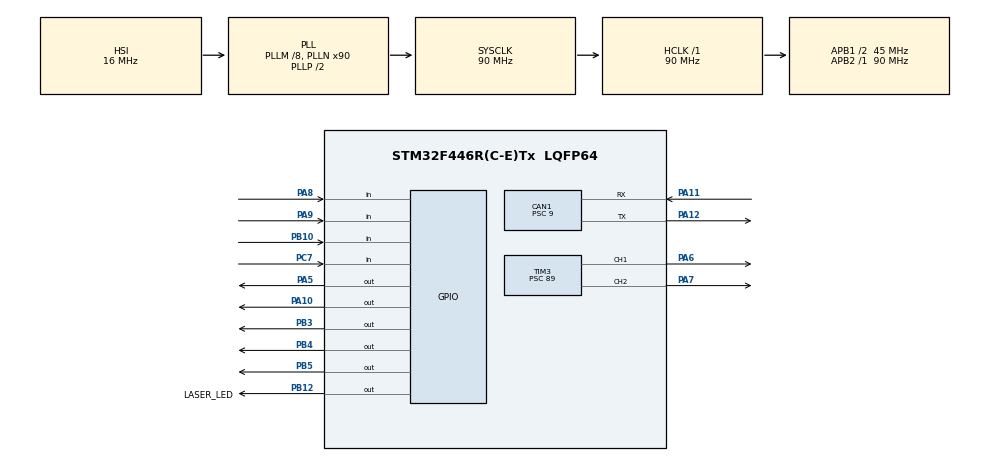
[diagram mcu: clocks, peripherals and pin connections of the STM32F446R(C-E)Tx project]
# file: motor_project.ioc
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CAN1.BS1=CAN_BS1_7TQ
CAN1.BS2=CAN_BS2_2TQ
CAN1.CalculateBaudRate=500000
CAN1.CalculateTimeBit=2000
CAN1.CalculateTimeQuantum=200.0
CAN1.Prescaler=9
FREERTOS.Queues01=KeyQueue,8,custom,0,Dynamic,NULL,NULL
FREERTOS.Tasks01=MotorTask,24,128,StartDefaultTask,Default,NULL,Dynamic,NULL,NULL;KeypadTask,8,128,StartTask02,Default,NULL,Dynamic,NULL,NULL
Mcu.Family=STM32F4
Mcu.Name=STM32F446R(C-E)Tx
Mcu.Package=LQFP64
NVIC.CAN1_RX0_IRQn=true\:5\:0\:false\:false\:true\:true\:true\:true\:true
NVIC.PriorityGroup=NVIC_PRIORITYGROUP_4
NVIC.TIM4_IRQn=true\:15\:0\:false\:false\:true\:false\:false\:true\:true
NVIC.TimeBase=TIM4_IRQn
NVIC.TimeBaseIP=TIM4
PA10.Signal=GPIO_Output
PA11.Mode=CAN_Activate
PA11.Signal=CAN1_RX
PA12.Mode=CAN_Activate
PA12.Signal=CAN1_TX
PA13.Mode=Serial_Wire
PA13.Signal=SYS_JTMS-SWDIO
PA14.Mode=Serial_Wire
PA14.Signal=SYS_JTCK-SWCLK
PA5.Signal=GPIO_Output
PA6.Signal=S_TIM3_CH1
PA7.Signal=S_TIM3_CH2
PA8.GPIO_PuPd=GPIO_PULLUP
PA8.Signal=GPIO_Input
PA9.GPIO_PuPd=GPIO_PULLUP
PA9.Signal=GPIO_Input
PB10.GPIO_PuPd=GPIO_PULLUP
PB10.Signal=GPIO_Input
PB12.GPIO_Label=LASER_LED
PB12.Signal=GPIO_Output
PB3.Signal=GPIO_Output
PB4.Signal=GPIO_Output
PB5.Signal=GPIO_Output
PC7.GPIO_PuPd=GPIO_PULLUP
PC7.Signal=GPIO_Input
ProjectManager.HeapSize=0x200
ProjectManager.StackSize=0x400
ProjectManager.TargetToolchain=STM32CubeIDE
RCC.AHBFreq_Value=90000000
RCC.APB1CLKDivider=RCC_HCLK_DIV2
RCC.APB1Freq_Value=45000000
RCC.APB1TimFreq_Value=90000000
RCC.APB2Freq_Value=90000000
RCC.APB2TimFreq_Value=90000000
RCC.CortexFreq_Value=90000000
RCC.HCLKFreq_Value=90000000
RCC.PLLM=8
RCC.PLLN=90
RCC.SYSCLKFreq_VALUE=90000000
RCC.SYSCLKSource=RCC_SYSCLKSOURCE_PLLCLK
RCC.USBFreq_Value=90000000
RCC.VCOOutputFreq_Value=180000000
SH.S_TIM3_CH1.0=TIM3_CH1,PWM Generation1 CH1
SH.S_TIM3_CH2.0=TIM3_CH2,PWM Generation2 CH2
TIM3.Channel-PWM\ Generation1\ CH1=TIM_CHANNEL_1
TIM3.Channel-PWM\ Generation2\ CH2=TIM_CHANNEL_2
TIM3.Period=19999
TIM3.Prescaler=89
TIM3.Pulse-PWM\ Generation1\ CH1=1500
TIM3.Pulse-PWM\ Generation2\ CH2=1500
VP_FREERTOS_VS_CMSIS_V2.Mode=CMSIS_V2
VP_SYS_VS_tim4.Mode=TIM4
VP_TIM3_VS_ClockSourceINT.Mode=Internal
board=custom

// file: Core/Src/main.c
/* USER CODE BEGIN Header */
/**
  ******************************************************************************
  * @file           : main.c
  * @brief          : Main program body
  ******************************************************************************
  */
/* USER CODE END Header */
#include "main.h"
#include "cmsis_os.h"
#include "can.h"
#include "tim.h"
#include "gpio.h"

/* USER CODE BEGIN PV */
extern osMessageQueueId_t KeyQueueHandle;
extern TIM_HandleTypeDef htim3;
/* USER CODE END PV */

void SystemClock_Config(void);
void MX_FREERTOS_Init(void);

/* USER CODE BEGIN 0 */
#define TYPE_MANUAL  0
#define TYPE_AUTO    1

#define CMD_UP     (1 << 0)
#define CMD_DOWN   (1 << 1)
#define CMD_LEFT   (1 << 2)
#define CMD_RIGHT  (1 << 3)
#define CMD_TOGGLE (1 << 4)

// freertos.c와 동일한 구조체를 main.c에서도 알 수 있도록 선언
typedef struct {
    uint8_t  msg_type;
    uint16_t manual_cmd;
    int16_t  error_x;
    int16_t  error_y;
} TurretMsg_t;

uint16_t Scan_Keypad(void)
{
    uint16_t result = 0;

    const uint8_t keys[4][4] = {
        { 1,  2,  3,  4},
        { 5,  6,  7,  8},
        { 9, 10, 11, 12},
        {13, 14, 15, 16}
    };

    GPIO_TypeDef* row_ports[4] = {GPIOA, GPIOB, GPIOB, GPIOB};
    uint16_t      row_pins[4]  = {GPIO_PIN_10, GPIO_PIN_3, GPIO_PIN_5, GPIO_PIN_4};

    GPIO_TypeDef* col_ports[4] = {GPIOB, GPIOA, GPIOA, GPIOC};
    uint16_t      col_pins[4]  = {GPIO_PIN_10, GPIO_PIN_8, GPIO_PIN_9, GPIO_PIN_7};

    HAL_GPIO_WritePin(GPIOA, GPIO_PIN_10, GPIO_PIN_SET);
    HAL_GPIO_WritePin(GPIOB, GPIO_PIN_3,  GPIO_PIN_SET);
    HAL_GPIO_WritePin(GPIOB, GPIO_PIN_5,  GPIO_PIN_SET);
    HAL_GPIO_WritePin(GPIOB, GPIO_PIN_4,  GPIO_PIN_SET);

    for(int row = 0; row < 4; row++)
    {
        HAL_GPIO_WritePin(row_ports[row], row_pins[row], GPIO_PIN_RESET);
        osDelay(2);

        for(int col = 0; col < 4; col++)
        {
            if(HAL_GPIO_ReadPin(col_ports[col], col_pins[col]) == GPIO_PIN_RESET)
            {
                if(keys[row][col] == 1)  result |= CMD_TOGGLE;
                if(keys[row][col] == 2)  result |= CMD_UP;
                if(keys[row][col] == 10) result |= CMD_DOWN;
                if(keys[row][col] == 5)  result |= CMD_LEFT;
                if(keys[row][col] == 7)  result |= CMD_RIGHT;
            }
        }
        HAL_GPIO_WritePin(row_ports[row], row_pins[row], GPIO_PIN_SET);
    }

    return result;
}
/* USER CODE END 0 */

int main(void)
{

  /* MCU Configuration--------------------------------------------------------*/

  /* Reset of all peripherals, Initializes the Flash interface and the Systick. */
  HAL_Init();

  /* Configure the system clock */
  SystemClock_Config();

  /* Initialize all configured peripherals */
  MX_GPIO_Init();
  MX_TIM3_Init();
  MX_CAN1_Init();

  /* USER CODE BEGIN 2 */
  CAN_FilterTypeDef canFilterConfig;

  // 모든 CAN ID 메시지를 수신하도록 마스크 필터 개방
  canFilterConfig.FilterBank = 0;
  canFilterConfig.FilterMode = CAN_FILTERMODE_IDMASK;
  canFilterConfig.FilterScale = CAN_FILTERSCALE_32BIT;
  canFilterConfig.FilterIdHigh = 0x0000;
  canFilterConfig.FilterIdLow = 0x0000;
  canFilterConfig.FilterMaskIdHigh = 0x0000;
  canFilterConfig.FilterMaskIdLow = 0x0000;
  canFilterConfig.FilterFIFOAssignment = CAN_RX_FIFO0;
  canFilterConfig.FilterActivation = ENABLE;
  canFilterConfig.SlaveStartFilterBank = 14;

  if (HAL_CAN_ConfigFilter(&hcan1, &canFilterConfig) != HAL_OK) {
      Error_Handler();
  }

  // CAN 컨트롤러 시작
  if (HAL_CAN_Start(&hcan1) != HAL_OK) {
      Error_Handler();
  }

  // RX0 인터럽트(수신 알림) 활성화
  if (HAL_CAN_ActivateNotification(&hcan1, CAN_IT_RX_FIFO0_MSG_PENDING) != HAL_OK) {
      Error_Handler();
  }
  /* USER CODE END 2 */

  /* Init scheduler */
  osKernelInitialize();
  MX_FREERTOS_Init();

  /* Start scheduler */
  osKernelStart();

  /* Infinite loop */
  while (1)
  {

  }
}

void SystemClock_Config(void)
{
  RCC_OscInitTypeDef RCC_OscInitStruct = {0};
  RCC_ClkInitTypeDef RCC_ClkInitStruct = {0};

  __HAL_RCC_PWR_CLK_ENABLE();
  __HAL_PWR_VOLTAGESCALING_CONFIG(PWR_REGULATOR_VOLTAGE_SCALE3);

  RCC_OscInitStruct.OscillatorType = RCC_OSCILLATORTYPE_HSI;
  RCC_OscInitStruct.HSIState = RCC_HSI_ON;
  RCC_OscInitStruct.HSICalibrationValue = RCC_HSICALIBRATION_DEFAULT;
  RCC_OscInitStruct.PLL.PLLState = RCC_PLL_ON;
  RCC_OscInitStruct.PLL.PLLSource = RCC_PLLSOURCE_HSI;
  RCC_OscInitStruct.PLL.PLLM = 8;
  RCC_OscInitStruct.PLL.PLLN = 90;
  RCC_OscInitStruct.PLL.PLLP = RCC_PLLP_DIV2;
  RCC_OscInitStruct.PLL.PLLQ = 2;
  RCC_OscInitStruct.PLL.PLLR = 2;
  if (HAL_RCC_OscConfig(&RCC_OscInitStruct) != HAL_OK)
  {
    Error_Handler();
  }

  RCC_ClkInitStruct.ClockType = RCC_CLOCKTYPE_HCLK|RCC_CLOCKTYPE_SYSCLK
                              |RCC_CLOCKTYPE_PCLK1|RCC_CLOCKTYPE_PCLK2;
  RCC_ClkInitStruct.SYSCLKSource = RCC_SYSCLKSOURCE_PLLCLK;
  RCC_ClkInitStruct.AHBCLKDivider = RCC_SYSCLK_DIV1;
  RCC_ClkInitStruct.APB1CLKDivider = RCC_HCLK_DIV2;
  RCC_ClkInitStruct.APB2CLKDivider = RCC_HCLK_DIV1;

  if (HAL_RCC_ClockConfig(&RCC_ClkInitStruct, FLASH_LATENCY_2) != HAL_OK)
  {
    Error_Handler();
  }
}

/* USER CODE BEGIN 4 */
/**
  * @brief CAN 수신 인터럽트 콜백 함수
  */
void HAL_CAN_RxFifo0MsgPendingCallback(CAN_HandleTypeDef *hcan)
{
    CAN_RxHeaderTypeDef RxHeader;
    uint8_t RxData[8];
    TurretMsg_t rx_msg;

    // FIFO0에서 메시지 읽기
    if (HAL_CAN_GetRxMessage(hcan, CAN_RX_FIFO0, &RxHeader, RxData) == HAL_OK) {

        /* * [수신 데이터 파싱]
         * CAN 버스로부터 들어온 8바이트 배열(RxData)을 TurretMsg_t 구조체에 맞게 조립합니다.
         */
        rx_msg.msg_type   = RxData[0];
        rx_msg.manual_cmd = (uint16_t)((RxData[2] << 8) | RxData[1]);
        rx_msg.error_x    = (int16_t)((RxData[4] << 8) | RxData[3]);
        rx_msg.error_y    = (int16_t)((RxData[6] << 8) | RxData[5]);

        /*
         * [FreeRTOS 큐 전송]
         * 파싱 완료된 구조체를 KeyQueueHandle에 넣어 MotorTask가 처리하도록 합니다.
         */
        if (KeyQueueHandle != NULL) {
            osMessageQueuePut(KeyQueueHandle, &rx_msg, 0, 0);
        }
    }
}
/* USER CODE END 4 */

void HAL_TIM_PeriodElapsedCallback(TIM_HandleTypeDef *htim)
{
  if (htim->Instance == TIM4)
  {
    HAL_IncTick();
  }
}

void Error_Handler(void)
{
  __disable_irq();
  while (1)
  {
  }
}

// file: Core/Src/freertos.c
/* USER CODE BEGIN Header */
/**
  ******************************************************************************
  * File Name          : freertos.c
  * Description        : Code for freertos applications
  ******************************************************************************
  */
/* USER CODE END Header */

#include "FreeRTOS.h"
#include "task.h"
#include "main.h"
#include "cmsis_os.h"

/* USER CODE BEGIN Includes */
#include <stdio.h>
#include <string.h>
/* USER CODE END Includes */

/* USER CODE BEGIN PD */
#define TYPE_MANUAL  0
#define TYPE_AUTO    1

#define CMD_UP     (1 << 0)
#define CMD_DOWN   (1 << 1)
#define CMD_LEFT   (1 << 2)
#define CMD_RIGHT  (1 << 3)
#define CMD_TOGGLE (1 << 4)

typedef struct {
    uint8_t  msg_type;
    uint16_t manual_cmd;
    int16_t  error_x;
    int16_t  error_y;
} TurretMsg_t;
/* USER CODE END PD */

/* USER CODE BEGIN Variables */
extern TIM_HandleTypeDef htim3;

// [삭제 완료] UART 관련 수신 버퍼 및 플래그 변수 모두 제거되었습니다.
/* USER CODE END Variables */

/* Definitions for MotorTask */
osThreadId_t MotorTaskHandle;
const osThreadAttr_t MotorTask_attributes = {
  .name = "MotorTask",
  .stack_size = 128 * 4,
  .priority = (osPriority_t) osPriorityNormal,
};
/* Definitions for KeypadTask */
osThreadId_t KeypadTaskHandle;
const osThreadAttr_t KeypadTask_attributes = {
  .name = "KeypadTask",
  .stack_size = 128 * 4,
  .priority = (osPriority_t) osPriorityLow,
};
/* Definitions for KeyQueue */
osMessageQueueId_t KeyQueueHandle;
const osMessageQueueAttr_t KeyQueue_attributes = {
  .name = "KeyQueue"
};

/* USER CODE BEGIN FunctionPrototypes */
uint16_t Scan_Keypad(void);
/* USER CODE END FunctionPrototypes */

void StartDefaultTask(void *argument);
void StartTask02(void *argument);

void MX_FREERTOS_Init(void); /* (MISRA C 2004 rule 8.1) */

void MX_FREERTOS_Init(void) {
  /* Create the queue(s) */
  KeyQueueHandle = osMessageQueueNew (8, sizeof(TurretMsg_t), &KeyQueue_attributes);

  /* Create the thread(s) */
  MotorTaskHandle = osThreadNew(StartDefaultTask, NULL, &MotorTask_attributes);
  KeypadTaskHandle = osThreadNew(StartTask02, NULL, &KeypadTask_attributes);
}

/* USER CODE BEGIN Header_StartDefaultTask */
/**
  * @brief  MotorTask: 서보 제어 및 메시지 큐 처리
  */
/* USER CODE END Header_StartDefaultTask */
void StartDefaultTask(void *argument)
{
  /* USER CODE BEGIN StartDefaultTask */
  TurretMsg_t rx_msg;

  uint16_t pulse_x = 1500;
  uint16_t pulse_y = 1500;

  const uint16_t step_size = 5;

  // ── 제어 상수 ────────────────────────────────────────────
  const float Kp_x      = 0.08f;
  const float Kp_y      = 0.08f;
  const float Kd_x      = 0.25f;
  const float Kd_y      = 0.25f;
  const int   max_speed = 15;
  const int   deadzone  = 20;
  const float max_pulse = 2300.0f;
  const float min_pulse =  700.0f;
  // ─────────────────────────────────────────────────────────

  float prev_error_x = 0.0f;
  float prev_error_y = 0.0f;
  float pulse_x_f    = 1500.0f;
  float pulse_y_f    = 1500.0f;

  uint8_t current_mode = TYPE_MANUAL;

  HAL_TIM_PWM_Start(&htim3, TIM_CHANNEL_1);
  HAL_TIM_PWM_Start(&htim3, TIM_CHANNEL_2);

  TIM3->CCR1 = pulse_x;
  TIM3->CCR2 = pulse_y;

  // [삭제 완료] HAL_UART_Receive_IT 호출문이 제거되었습니다.

  for(;;)
  {
    // [삭제 완료] 기존에 존재하던 uart_msg_ready 문자열 파싱 블록이 제거되었습니다.
    // 앞으로는 CAN 수신 콜백 함수에서 hcan을 통해 받은 데이터를
    // 바로 KeyQueueHandle에 넣어 제어하게 됩니다.

    if(osMessageQueueGet(KeyQueueHandle, &rx_msg, NULL, 20) == osOK)
    {
        // ── 모드 전환 (TOGGLE 버튼) ──────────────────────────
        if(rx_msg.msg_type == TYPE_MANUAL && (rx_msg.manual_cmd & CMD_TOGGLE))
        {
            current_mode = (current_mode == TYPE_AUTO) ? TYPE_MANUAL : TYPE_AUTO;
            HAL_GPIO_WritePin(GPIOB, GPIO_PIN_12, GPIO_PIN_SET);
        }

        // ── 수동 모드 ─────────────────────────────────────────
        if(current_mode == TYPE_MANUAL)
        {
            if(rx_msg.msg_type == TYPE_MANUAL)
            {
                if(rx_msg.manual_cmd & CMD_LEFT)  pulse_x -= step_size;
                if(rx_msg.manual_cmd & CMD_RIGHT) pulse_x += step_size;
                if(rx_msg.manual_cmd & CMD_UP)    pulse_y -= step_size;
                if(rx_msg.manual_cmd & CMD_DOWN)  pulse_y += step_size;

                if(pulse_x > (uint16_t)max_pulse) pulse_x = (uint16_t)max_pulse;
                if(pulse_x < (uint16_t)min_pulse) pulse_x = (uint16_t)min_pulse;
                if(pulse_y > (uint16_t)max_pulse) pulse_y = (uint16_t)max_pulse;
                if(pulse_y < (uint16_t)min_pulse) pulse_y = (uint16_t)min_pulse;

                TIM3->CCR1 = pulse_x;
                TIM3->CCR2 = pulse_y;
            }
        }
        // ── 자동 모드 (PD 제어) ───────────────────────────────
        else if(current_mode == TYPE_AUTO)
        {
            if(rx_msg.msg_type == TYPE_AUTO)
            {
                float ex = (float)rx_msg.error_x;
                float ey = (float)rx_msg.error_y;

                if(ex > -(float)deadzone && ex < (float)deadzone) ex = 0.0f;
                if(ey > -(float)deadzone && ey < (float)deadzone) ey = 0.0f;

                if(ex == 0.0f && ey == 0.0f)
                    HAL_GPIO_WritePin(GPIOB, GPIO_PIN_12, GPIO_PIN_RESET);
                else
                    HAL_GPIO_WritePin(GPIOB, GPIO_PIN_12, GPIO_PIN_SET);

                // ── PD 제어 ──
                float delta_x = Kp_x * ex + Kd_x * (ex - prev_error_x);
                float delta_y = Kp_y * ey + Kd_y * (ey - prev_error_y);

                prev_error_x = ex;
                prev_error_y = ey;

                if(delta_x >  (float)max_speed) delta_x =  (float)max_speed;
                if(delta_x < -(float)max_speed) delta_x = -(float)max_speed;
                if(delta_y >  (float)max_speed) delta_y =  (float)max_speed;
                if(delta_y < -(float)max_speed) delta_y = -(float)max_speed;

                pulse_x_f += delta_x;
                pulse_y_f -= delta_y;

                if(pulse_x_f > max_pulse) pulse_x_f = max_pulse;
                if(pulse_x_f < min_pulse) pulse_x_f = min_pulse;
                if(pulse_y_f > max_pulse) pulse_y_f = max_pulse;
                if(pulse_y_f < min_pulse) pulse_y_f = min_pulse;

                TIM3->CCR1 = (uint16_t)pulse_x_f;
                TIM3->CCR2 = (uint16_t)pulse_y_f;
            }
            else
            {
                HAL_GPIO_WritePin(GPIOB, GPIO_PIN_12, GPIO_PIN_SET);
            }
        }
    }
    else
    {
        if(current_mode == TYPE_AUTO)
        {
            HAL_GPIO_WritePin(GPIOB, GPIO_PIN_12, GPIO_PIN_SET);
        }
    }
  }
  /* USER CODE END StartDefaultTask */
}

/* USER CODE BEGIN Header_StartTask02 */
/**
  * @brief KeypadTask: 키패드 스캔 후 큐 전송
  */
/* USER CODE END Header_StartTask02 */
void StartTask02(void *argument)
{
  /* USER CODE BEGIN StartTask02 */
  uint16_t pressed_keys = 0;
  static uint16_t prev_keys = 0;
  TurretMsg_t tx_msg;

  for(;;)
  {
    pressed_keys = Scan_Keypad();

    uint16_t transition = pressed_keys & ~prev_keys;
    prev_keys = pressed_keys;

    if(pressed_keys != 0 || transition != 0)
    {
        tx_msg.msg_type   = TYPE_MANUAL;
        tx_msg.manual_cmd = 0;

        if(transition & CMD_TOGGLE) tx_msg.manual_cmd |= CMD_TOGGLE;
        tx_msg.manual_cmd |= (pressed_keys & (CMD_UP | CMD_DOWN | CMD_LEFT | CMD_RIGHT));

        if(tx_msg.manual_cmd != 0)
            osMessageQueuePut(KeyQueueHandle, &tx_msg, 0, 0);
    }
    osDelay(30);
  }
  /* USER CODE END StartTask02 */
}

/* USER CODE BEGIN Application */
// [삭제 완료] HAL_UART_RxCpltCallback 인터럽트 콜백 함수가 완전히 제거되었습니다.
/* USER CODE END Application */
